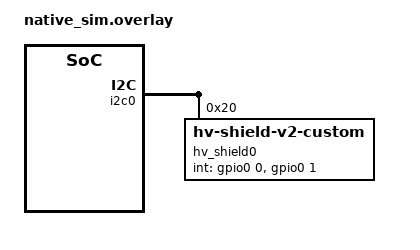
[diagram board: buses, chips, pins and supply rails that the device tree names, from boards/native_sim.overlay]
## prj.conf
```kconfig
CONFIG_ZTEST=y
CONFIG_ASSERT=y
CONFIG_I2C=y
CONFIG_HV_SHIELD_V2=y
CONFIG_GPIO=y

CONFIG_LOG=y
CONFIG_LOG_INFO_COLOR_GREEN=y

CONFIG_HEAP_MEM_POOL_SIZE=2048

CONFIG_EMUL=y
CONFIG_EMUL_HV_SHIELD_V2=y
```

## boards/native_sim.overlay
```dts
&i2c0 {
	hv_shield0: hv_shield0@20 {
		compatible = "hv-shield-v2-custom";
		int-gpios = <&gpio0 0 GPIO_ACTIVE_HIGH>, <&gpio0 1 GPIO_ACTIVE_HIGH>;
		reg = <0x20>;
		gpio-controller;
		#gpio-cells = <2>;
	};
};
```

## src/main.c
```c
#include "devices.h"
#include "regs.h"

#include <zephyr/drivers/gpio.h>
#include <zephyr/drivers/gpio/gpio_emul.h>
#include <zephyr/fff.h>
#include <zephyr/ztest.h>

#include <ardep/drivers/emul/hv_shield_v2.h>
#include <ardep/drivers/i2c_fake.h>
#include <ardep/dt-bindings/hv-shield-v2.h>

DEFINE_FFF_GLOBALS;

ZTEST_SUITE(mcp_driver, NULL, NULL, NULL, NULL, NULL);

ZTEST(mcp_driver, test_iodir_and_iocon_init) {
  zassert_equal(hv_shield_v2_emul_get_u16_reg(hv_shield_emul, REG_IODIRA),
                0x7f40);
  zassert_equal(hv_shield_v2_emul_get_u16_reg(hv_shield_emul, REG_IOCONA),
                0x4444);
}

ZTEST(mcp_driver, test_set_output_0) {
  zassert_equal(gpio_pin_set(hv_shield, HV_SHIELD_V2_OUTPUT(0), 1), 0);
  zassert_equal(hv_shield_v2_emul_get_u16_reg(hv_shield_emul, REG_GPIOA),
                0x0001);  // Bank A: 0x01, Bank B: 0x00

  zassert_equal(gpio_pin_set(hv_shield, HV_SHIELD_V2_OUTPUT(0), 0), 0);
  zassert_equal(hv_shield_v2_emul_get_u16_reg(hv_shield_emul, REG_GPIOA),
                0x0000);
}

ZTEST(mcp_driver, test_set_output_5) {
  zassert_equal(gpio_pin_set(hv_shield, HV_SHIELD_V2_OUTPUT(5), 1), 0);
  zassert_equal(hv_shield_v2_emul_get_u16_reg(hv_shield_emul, REG_GPIOA),
                0x0020);  // Bank A: 0x20, Bank B: 0x00

  zassert_equal(gpio_pin_set(hv_shield, HV_SHIELD_V2_OUTPUT(5), 0), 0);
  zassert_equal(hv_shield_v2_emul_get_u16_reg(hv_shield_emul, REG_GPIOA),
                0x0000);
}

ZTEST(mcp_driver, test_read_inputs_and_faults) {
  gpio_port_value_t value;

  hv_shield_v2_emul_set_u16_reg(hv_shield_emul, REG_GPIOA,
                                0x9240);  // set input 1 and 4, fault 0 and 2

  zassert_equal(gpio_port_get(hv_shield, &value), 0);
  zassert_equal((value >> HV_SHIELD_V2_INPUT_BASE) & 0x3F, 0b10010);
  zassert_equal((value >> HV_SHIELD_V2_FAULT_BASE) & 0x7, 0b101);

  hv_shield_v2_emul_set_u16_reg(hv_shield_emul, REG_GPIOA, 0xc000);
  zassert_equal(gpio_port_get(hv_shield, &value), 0);
  zassert_equal((value >> HV_SHIELD_V2_FAULT_BASE), 0b110);

  // reset
  hv_shield_v2_emul_set_u16_reg(hv_shield_emul, REG_GPIOA, 0x0000);
  zassert_equal(gpio_port_get(hv_shield, &value), 0);
  zassert_equal(value, 0);
}

ZTEST(mcp_driver, test_configure_outputs) {
  // configure with active flag (meaning active on configure)
  zassert_equal(
      gpio_pin_configure(hv_shield, HV_SHIELD_V2_OUTPUT(0), GPIO_OUTPUT_ACTIVE),
      0);
  zassert_equal(hv_shield_v2_emul_get_u16_reg(hv_shield_emul, REG_GPIOA),
                0x0001);

  // reconfigure without ACTIVE flag
  zassert_equal(
      gpio_pin_configure(hv_shield, HV_SHIELD_V2_OUTPUT(0), GPIO_OUTPUT), 0);

  zassert_equal(hv_shield_v2_emul_get_u16_reg(hv_shield_emul, REG_GPIOA),
                0x0000);

  // try to configure with invalid flags
  zassert_not_equal(
      gpio_pin_configure(hv_shield, HV_SHIELD_V2_OUTPUT(0), GPIO_INPUT), 0);
  zassert_not_equal(gpio_pin_configure(hv_shield, HV_SHIELD_V2_OUTPUT(0),
                                       GPIO_OUTPUT | GPIO_OPEN_DRAIN),
                    0);
  zassert_not_equal(gpio_pin_configure(hv_shield, HV_SHIELD_V2_OUTPUT(0),
                                       GPIO_OUTPUT | GPIO_PULL_UP),
                    0);
  zassert_not_equal(gpio_pin_configure(hv_shield, HV_SHIELD_V2_OUTPUT(0),
                                       GPIO_OUTPUT | GPIO_PULL_DOWN),
                    0);
}

ZTEST(mcp_driver, test_configure_inputs) {
  zassert_equal(
      gpio_pin_configure(hv_shield, HV_SHIELD_V2_INPUT(0), GPIO_INPUT), 0);
  zassert_not_equal(gpio_pin_configure(hv_shield, HV_SHIELD_V2_INPUT(0),
                                       GPIO_INPUT | GPIO_PULL_DOWN),
                    0);
  zassert_not_equal(gpio_pin_configure(hv_shield, HV_SHIELD_V2_INPUT(0),
                                       GPIO_INPUT | GPIO_PULL_UP),
                    0);
  zassert_not_equal(
      gpio_pin_configure(hv_shield, HV_SHIELD_V2_INPUT(0), GPIO_OUTPUT), 0);
}
```

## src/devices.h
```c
#include <zephyr/device.h>
#include <zephyr/drivers/emul.h>
#include <zephyr/drivers/gpio.h>
#include <zephyr/drivers/gpio/gpio_emul.h>

static const struct device* hv_shield = DEVICE_DT_GET(DT_NODELABEL(hv_shield0));
static const struct emul* hv_shield_emul =
    EMUL_DT_GET(DT_NODELABEL(hv_shield0));
```

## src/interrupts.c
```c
#include "devices.h"
#include "regs.h"

#include <zephyr/drivers/gpio.h>
#include <zephyr/drivers/gpio/gpio_emul.h>
#include <zephyr/fff.h>
#include <zephyr/ztest.h>

#include <ardep/drivers/emul/hv_shield_v2.h>
#include <ardep/drivers/i2c_fake.h>
#include <ardep/dt-bindings/hv-shield-v2.h>

static const struct device* gpio0 = DEVICE_DT_GET(DT_NODELABEL(gpio0));

FAKE_VOID_FUNC(gpio_demo_interrupt,
               const struct device*,
               struct gpio_callback*,
               gpio_port_pins_t);

static void after_each() { RESET_FAKE(gpio_demo_interrupt); }

ZTEST_SUITE(mcp_driver_interrupts, NULL, NULL, NULL, after_each, NULL);

ZTEST(mcp_driver_interrupts, test_rising_edge_interrupt) {
  struct gpio_callback callback;
  gpio_init_callback(&callback, gpio_demo_interrupt,
                     BIT(HV_SHIELD_V2_INPUT(0)));
  zassert_equal(gpio_add_callback(hv_shield, &callback), 0);

  zassert_equal(gpio_pin_interrupt_configure(hv_shield, HV_SHIELD_V2_INPUT(0),
                                             GPIO_INT_EDGE_TO_ACTIVE),
                0);

  // Interrupt should be configured for the chip
  zassert_equal(hv_shield_v2_emul_get_u16_reg(hv_shield_emul, REG_GPINTENA),
                0x0100);  // gpinten
  zassert_equal(hv_shield_v2_emul_get_u16_reg(hv_shield_emul, REG_INTCONA),
                0x0000);  // intcon
  zassert_equal(hv_shield_v2_emul_get_u16_reg(hv_shield_emul, REG_DEFVALA),
                0x0000);  // defval

  // nothing should happen when not INTF is set
  zassert_equal(gpio_emul_input_set(gpio0, 0, 1), 0);
  k_msleep(1);
  zassert_equal(gpio_emul_input_set(gpio0, 0, 0), 0);
  zassert_equal(gpio_demo_interrupt_fake.call_count, 0);

  // set INTF and INTCAP to simulate rising edge interrupt

  hv_shield_v2_emul_set_u16_reg(hv_shield_emul, REG_INTFA,
                                0x0100);  // input pin 0
  hv_shield_v2_emul_set_u16_reg(hv_shield_emul, REG_INTCAPA,
                                0x0100);  // input pin 0

  // set interrupt gpio to 1
  zassert_equal(gpio_emul_input_set(gpio0, 0, 1), 0);
  k_msleep(1);
  zassert_equal(gpio_demo_interrupt_fake.call_count, 1);
  zassert_equal(gpio_demo_interrupt_fake.arg0_val, hv_shield);
  zassert_equal(gpio_demo_interrupt_fake.arg1_val, &callback);
  zassert_equal(gpio_demo_interrupt_fake.arg2_val, BIT(HV_SHIELD_V2_INPUT(0)));
  k_msleep(10);
  zassert_equal(gpio_emul_input_set(gpio0, 0, 0), 0);
  k_msleep(1);
  zassert_equal(gpio_demo_interrupt_fake.call_count, 1);

  // reset
  hv_shield_v2_emul_set_reg(hv_shield_emul, 0x11, 0x00);
  hv_shield_v2_emul_set_reg(hv_shield_emul, 0x0F, 0x00);

  zassert_equal(gpio_remove_callback(hv_shield, &callback), 0);
  zassert_equal(gpio_pin_interrupt_configure(hv_shield, HV_SHIELD_V2_INPUT(0),
                                             GPIO_INT_DISABLE),
                0);
}

ZTEST(mcp_driver_interrupts, test_fault_interrupt) {
  struct gpio_callback callback;
  gpio_init_callback(&callback, gpio_demo_interrupt,
                     BIT(HV_SHIELD_V2_FAULT(0)) | BIT(HV_SHIELD_V2_FAULT(1)));
  zassert_equal(gpio_add_callback(hv_shield, &callback), 0);

  zassert_equal(gpio_pin_interrupt_configure(hv_shield, HV_SHIELD_V2_FAULT(0),
                                             GPIO_INT_EDGE_TO_ACTIVE),
                0);
  zassert_equal(gpio_pin_interrupt_configure(hv_shield, HV_SHIELD_V2_FAULT(1),
                                             GPIO_INT_EDGE_TO_ACTIVE),
                0);

  // Interrupt should be configured for the chip
  zassert_equal(hv_shield_v2_emul_get_u16_reg(hv_shield_emul, REG_GPINTENA),
                0x4040);  // gpinten
  zassert_equal(hv_shield_v2_emul_get_u16_reg(hv_shield_emul, REG_INTCONA),
                0x0000);  // intcon
  zassert_equal(hv_shield_v2_emul_get_u16_reg(hv_shield_emul, REG_DEFVALA),
                0x0000);  // defval

  // nothing should happen when not INTF is set
  zassert_equal(gpio_emul_input_set(gpio0, 0, 1), 0);
  k_msleep(1);
  zassert_equal(gpio_emul_input_set(gpio0, 0, 0), 0);
  zassert_equal(gpio_demo_interrupt_fake.call_count, 0);

  // set INTF and INTCAP to simulate rising edge interrupt
  hv_shield_v2_emul_set_u16_reg(hv_shield_emul, REG_INTFA,
                                0x4040);  // fault 0 and 1
  hv_shield_v2_emul_set_u16_reg(hv_shield_emul, REG_INTCAPA,
                                0x4040);  // fault 0 and 1

  // trigger interrupt pin rising
  zassert_equal(gpio_emul_input_set(gpio0, 0, 1), 0);
  k_msleep(1);
  zassert_equal(gpio_demo_interrupt_fake.call_count, 1);
  zassert_equal(gpio_demo_interrupt_fake.arg0_val, hv_shield);
  zassert_equal(gpio_demo_interrupt_fake.arg1_val, &callback);
  zassert_equal(gpio_demo_interrupt_fake.arg2_val,
                BIT(HV_SHIELD_V2_FAULT(0)) | BIT(HV_SHIELD_V2_FAULT(1)));
  zassert_equal(gpio_emul_input_set(gpio0, 0, 0), 0);

  // reset
  hv_shield_v2_emul_set_u16_reg(hv_shield_emul, REG_INTFA, 0x0000);
  hv_shield_v2_emul_set_u16_reg(hv_shield_emul, REG_INTCAPA, 0x0000);

  zassert_equal(gpio_remove_callback(hv_shield, &callback), 0);
  zassert_equal(gpio_pin_interrupt_configure(hv_shield, HV_SHIELD_V2_FAULT(0),
                                             GPIO_INT_DISABLE),
                0);
  zassert_equal(gpio_pin_interrupt_configure(hv_shield, HV_SHIELD_V2_FAULT(1),
                                             GPIO_INT_DISABLE),
                0);
}

static int counter = 20;
static void demo_interrupt_custom_handler(const struct device* a,
                                          struct gpio_callback* b,
                                          gpio_port_pins_t c) {
  ARG_UNUSED(a);
  ARG_UNUSED(b);
  ARG_UNUSED(c);

  counter--;
  if (counter == 0) {
    hv_shield_v2_emul_set_u16_reg(hv_shield_emul, REG_INTFA, 0x0000);
    hv_shield_v2_emul_set_u16_reg(hv_shield_emul, REG_INTCAPA, 0x0000);
  }
}

ZTEST(mcp_driver_interrupts, test_level_interrupt) {
  gpio_demo_interrupt_fake.custom_fake = demo_interrupt_custom_handler;

  // note that we use input 1 here

  struct gpio_callback callback;
  gpio_init_callback(&callback, gpio_demo_interrupt,
                     BIT(HV_SHIELD_V2_INPUT(1)));
  zassert_equal(gpio_add_callback(hv_shield, &callback), 0);

  zassert_equal(gpio_pin_interrupt_configure(hv_shield, HV_SHIELD_V2_INPUT(1),
                                             GPIO_INT_LEVEL_HIGH),
                0);

  // Interrupt should be configured for the chip
  zassert_equal(hv_shield_v2_emul_get_u16_reg(hv_shield_emul, REG_GPINTENA),
                0x0200);  // gpinten
  zassert_equal(hv_shield_v2_emul_get_u16_reg(hv_shield_emul, REG_INTCONA),
                0x0200);  // intcon
  zassert_equal(hv_shield_v2_emul_get_u16_reg(hv_shield_emul, REG_DEFVALA),
                0x0000);  // defval

  // nothing should happen when not INTF is set
  zassert_equal(gpio_emul_input_set(gpio0, 0, 1), 0);
  k_msleep(1);
  zassert_equal(gpio_emul_input_set(gpio0, 0, 0), 0);
  zassert_equal(gpio_demo_interrupt_fake.call_count, 0);

  // set INTF and INTCAP to simulate level high interrupt
  hv_shield_v2_emul_set_u16_reg(hv_shield_emul, REG_INTFA,
                                0x0200);  // input pin 1
  hv_shield_v2_emul_set_u16_reg(hv_shield_emul, REG_INTCAPA,
                                0x0200);  // input pin 1

  // set interrupt gpio to 1
  zassert_equal(gpio_emul_input_set(gpio0, 0, 1), 0);
  k_msleep(1);
  // driver now does its thing and calls the interrupt handler and after 20
  // times, the handler resets the intf which stops further interrupts then we
  // jump back here as the wq is then empty

  // the interrupt handler should only be called 20 times, not more or less
  zassert_true(gpio_demo_interrupt_fake.call_count == 20);
  zassert_true(counter == 0);

  // check that the registers were reset
  zassert_equal(hv_shield_v2_emul_get_u16_reg(hv_shield_emul, REG_INTFA),
                0x0000);
  zassert_equal(hv_shield_v2_emul_get_u16_reg(hv_shield_emul, REG_INTCAPA),
                0x0000);
  k_msleep(1);
  zassert_equal(gpio_emul_input_set(gpio0, 0, 0), 0);

  zassert_true(gpio_demo_interrupt_fake.call_count == 20);

  zassert_equal(gpio_remove_callback(hv_shield, &callback), 0);
  zassert_equal(gpio_pin_interrupt_configure(hv_shield, HV_SHIELD_V2_INPUT(1),
                                             GPIO_INT_DISABLE),
                0);
}
```
